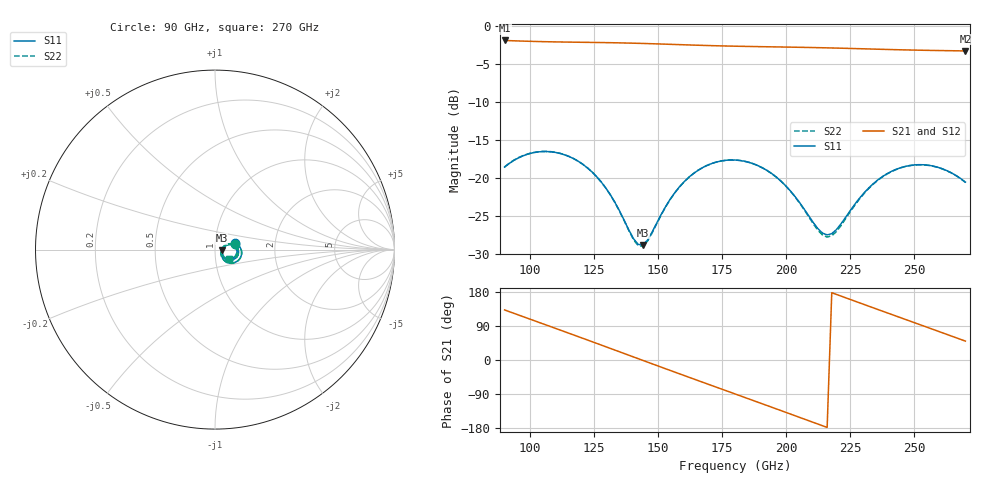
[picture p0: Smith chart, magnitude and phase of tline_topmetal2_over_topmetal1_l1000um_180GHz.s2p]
#  GHZ S DB R 50
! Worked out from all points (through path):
!   101 points, 90 GHz to 270 GHz, reference 50 ohm
!   highest |S21| = -1.86 dB at 90 GHz (marker M1); lowest = -3.2 dB at 270 GHz (marker M2)
!   group delay of S21, straight-line fit = 6.83 ps
!   lowest |S11| = -28.7 dB at 144 GHz (marker M3), VSWR 1.08, Z = 53.8 - j0.462 ohm
!   |S11| at or under -10 dB: start of sweep to end of sweep
!   |S22| runs from -28.9 to -16.4 dB; largest |S21 - S12| = 9e-14
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90  -18.51 17.1  -1.86 132.1  -1.86 132.1  -18.48 16.5
99  -16.82 1.6  -1.96 110.1  -1.96 110.1  -16.79 1.0
106.2  -16.47 -11.6  -2.03 92.5  -2.03 92.5  -16.45 -12.3
113.4  -16.90 -24.7  -2.07 74.8  -2.07 74.8  -16.88 -25.4
120.6  -18.17 -37.0  -2.10 57.1  -2.10 57.1  -18.15 -37.7
133.2  -23.22 -48.9  -2.17 25.9  -2.17 25.9  -23.24 -50.0
140.4  -27.96 -31.0  -2.22 7.9  -2.22 7.9  -28.08 -32.2
144  -28.75 -6.7  -2.25 -1.0  -2.25 -1.0  -28.92 -7.3
151.2  -24.73 22.4  -2.33 -18.9  -2.33 -18.9  -24.79 22.3
158.4  -21.08 21.9  -2.41 -36.7  -2.41 -36.7  -21.10 21.7
165.6  -18.93 13.0  -2.49 -54.3  -2.49 -54.3  -18.94 12.6
172.8  -17.85 1.6  -2.56 -71.9  -2.56 -71.9  -17.84 1.1
180  -17.59 -10.5  -2.61 -89.5  -2.61 -89.5  -17.58 -11.2
194.4  -19.38 -32.6  -2.70 -124.8  -2.70 -124.8  -19.39 -33.6
203.4  -22.36 -39.7  -2.75 -146.9  -2.75 -146.9  -22.41 -41.1
210.6  -25.82 -31.9  -2.79 -164.7  -2.79 -164.7  -25.99 -33.6
214.2  -27.20 -18.7  -2.82 -173.5  -2.82 -173.5  -27.46 -20.0
217.8  -27.27 -1.3  -2.85 177.6  -2.85 177.6  -27.56 -1.8
228.6  -22.63 20.6  -2.94 151.0  -2.94 151.0  -22.73 20.8
241.2  -19.07 9.1  -3.06 120.1  -3.06 120.1  -19.10 8.9
255.6  -18.28 -12.8  -3.16 85.1  -3.16 85.1  -18.29 -13.5
270  -20.49 -32.0  -3.24 49.8  -3.24 49.8  -20.53 -33.1
